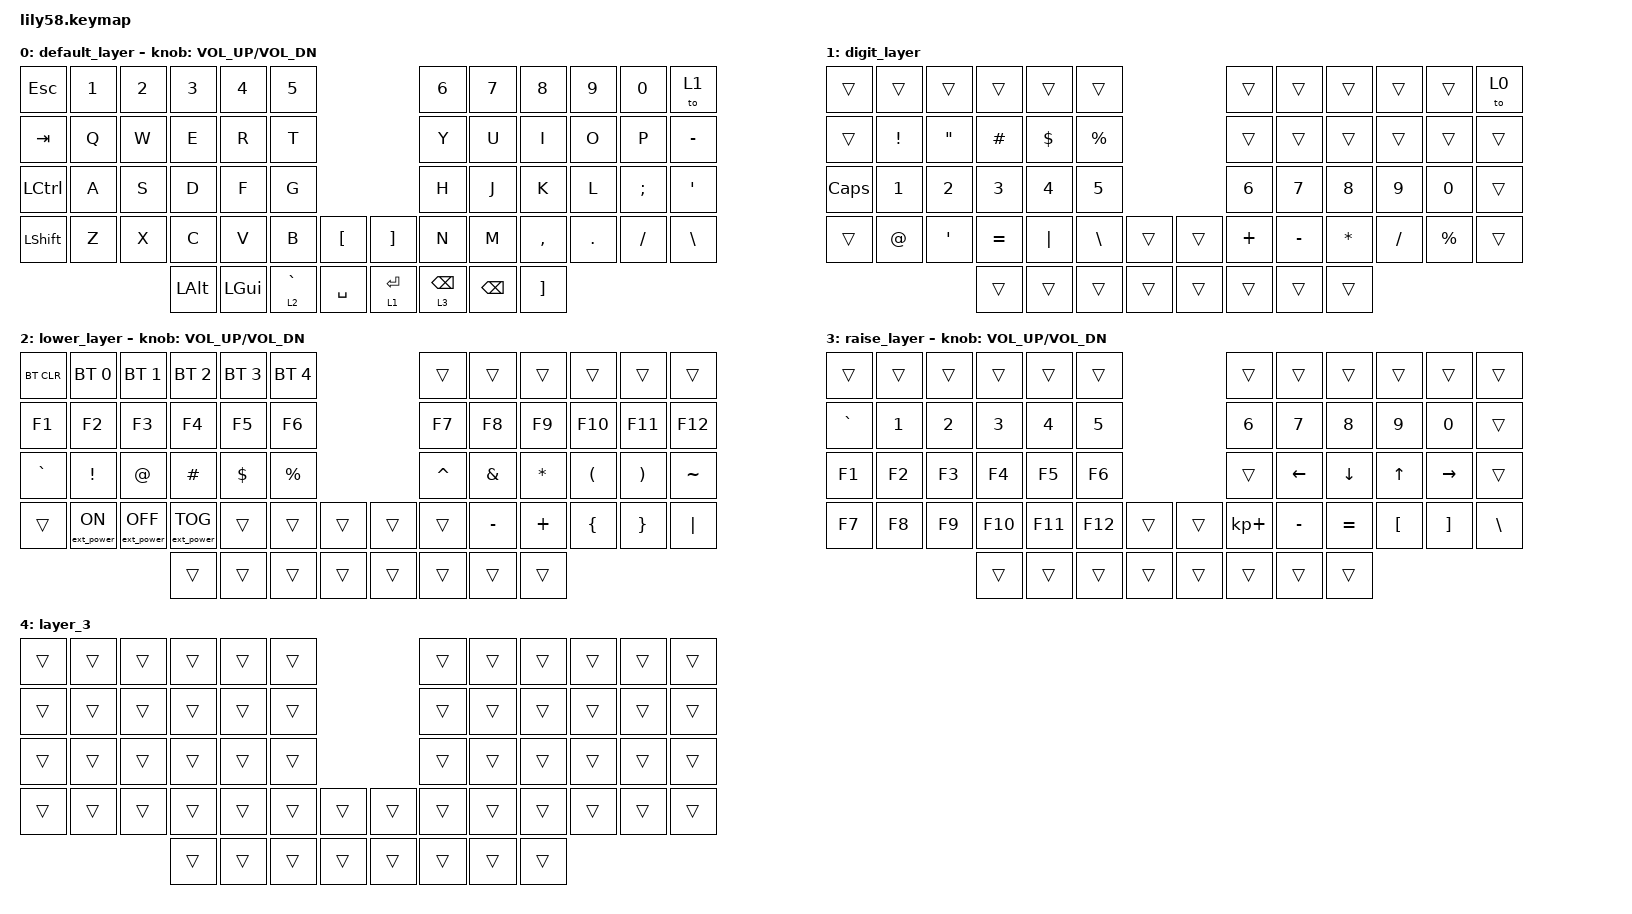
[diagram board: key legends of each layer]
/*
 * Copyright (c) 2020 The ZMK Contributors
 *
 * SPDX-License-Identifier: MIT
 */

#include <behaviors.dtsi>
#include <dt-bindings/zmk/bt.h>
#include <dt-bindings/zmk/ext_power.h>
#include <dt-bindings/zmk/keys.h>

/ {
    combos {
        compatible = "zmk,combos";

        combo_esc {
            timeout-ms = <50>;
            key-positions = <0 1>;
            bindings = <&kp ESC>;
        };
    };

    behaviors {
        ss_hs_modmorph: ss_hs_modmorph {
            compatible = "zmk,behavior-mod-morph";
            label = "SS_HS_MODMORPH";
            bindings = <&kp M>, <&kp RIGHT_BRACKET>;

            #binding-cells = <0>;
            mods = <(MOD_LSFT|MOD_RSFT)>;
        };

        kh_hs_tapdance: kh_hs_tapdance {
            compatible = "zmk,behavior-tap-dance";
            label = "KH_HS_TAPDANCE";
            #binding-cells = <0>;
            tapping-term-ms = <200>;
            bindings = <&kp LEFT_BRACKET>, <&kp RIGHT_BRACKET>;
        };

        hrm: hrm {
            compatible = "zmk,behavior-hold-tap";
            #binding-cells = <2>;
            flavor = "tap-preferred";
            tapping-term-ms = <200>;
            quick-tap-ms = <200>;
            require-prior-idle-ms = <125>;
            bindings = <&kp>, <&kp>;
        };
    };

    keymap {
        compatible = "zmk,keymap";

        default_layer {
            // ------------------------------------------------------------------------------------------------------------
            // |  ESC  |  1  |  2  |  3   |  4   |  5   |                   |  6   |  7    |  8    |  9   |   0   |   `   |
            // |  TAB  |  Q  |  W  |  E   |  R   |  T   |                   |  Y   |  U    |  I    |  O   |   P   |   -   |
            // |  CTRL |  A  |  S  |  D   |  F   |  G   |                   |  H   |  J    |  K    |  L   |   ;   |   '   |
            // | SHIFT |  Z  |  X  |  C   |  V   |  B   |   "["  |  |  "]"  |  N   |  M    |  ,    |  .   |   /   | SHIFT |
            //                     | ALT  | GUI  | LOWER|  SPACE |  | ENTER | RAISE| BSPC  | GUI   |

            bindings = <
&kp ESC    &kp N1  &kp N2  &kp N3    &kp N4    &kp N5                                 &kp N6           &kp N7    &kp N8             &kp N9   &kp N0    &to 1
&kp TAB    &kp Q   &kp W   &kp E     &kp R     &kp T                                  &kp Y            &kp U     &kp I              &kp O    &kp P     &kp MINUS
&kp LCTRL  &kp A   &kp S   &kp D     &kp F     &kp G                                  &kp H            &kp J     &kp K              &kp L    &kp SEMI  &kp SQT
&kp LSHFT  &kp Z   &kp X   &kp C     &kp V     &kp B        &kp LBKT     &kp RBKT     &kp N            &kp M     &kp COMMA          &kp DOT  &kp FSLH  &kp BACKSLASH
                           &kp LALT  &kp LGUI  &lt 2 GRAVE  &kp SPACE    &lt 1 ENTER  &lt 3 BACKSPACE  &kp BSPC  &kp RIGHT_BRACKET
            >;

            sensor-bindings = <&inc_dec_kp C_VOL_UP C_VOL_DN>;
        };

        digit_layer {
            bindings = <
&trans    &trans        &trans            &trans     &trans      &trans                       &trans    &trans     &trans    &trans    &trans     &to 0
&trans    &kp EXCL      &kp DQT           &kp HASH   &kp DOLLAR  &kp PRCNT                    &trans    &trans     &trans    &trans    &trans     &trans
&kp CLCK  &kp NUMBER_1  &kp N2            &kp N3     &kp N4      &kp N5                       &kp N6    &kp N7     &kp N8    &kp N9    &kp N0     &trans
&trans    &kp AT_SIGN   &kp SINGLE_QUOTE  &kp EQUAL  &kp PIPE    &kp BSLH   &trans    &trans  &kp PLUS  &kp MINUS  &kp STAR  &kp FSLH  &kp PRCNT  &trans
                                          &trans     &trans      &trans     &trans    &trans  &trans    &trans     &trans
            >;
        };

        lower_layer {
            // ------------------------------------------------------------------------------------------------------------
            // | BTCLR | BT1 | BT2 |  BT3 |  BT4 |  BT5 |                   |      |       |       |      |       |       |
            // |  F1   |  F2 |  F3 |  F4  |  F5  |  F6  |                   |  F7  |  F8   |  F9   |  F10 |  F11  |  F12  |
            // |   `   |  !  |  @  |  #   |  $   |  %   |                   |  ^   |  &    |  *    |  (   |   )   |   ~   |
            // |       |     |     |      |      |      |        |  |       |      |  _    |  +    |  {   |   }   |  "|"  |
            //                     |      |      |      |        |  |       |      |       |       |

            bindings = <
&bt BT_CLR  &bt BT_SEL 0      &bt BT_SEL 1       &bt BT_SEL 2       &bt BT_SEL 3  &bt BT_SEL 4                    &trans     &trans     &trans     &trans    &trans    &trans
&kp F1      &kp F2            &kp F3             &kp F4             &kp F5        &kp F6                          &kp F7     &kp F8     &kp F9     &kp F10   &kp F11   &kp F12
&kp GRAVE   &kp EXCL          &kp AT             &kp HASH           &kp DOLLAR    &kp PRCNT                       &kp CARET  &kp AMPS   &kp ASTRK  &kp LPAR  &kp RPAR  &kp TILDE
&trans      &ext_power EP_ON  &ext_power EP_OFF  &ext_power EP_TOG  &trans        &trans        &trans    &trans  &trans     &kp MINUS  &kp PLUS   &kp LBRC  &kp RBRC  &kp PIPE
                                                 &trans             &trans        &trans        &trans    &trans  &trans     &trans     &trans
            >;

            sensor-bindings = <&inc_dec_kp C_VOL_UP C_VOL_DN>;
        };

        raise_layer {
            // ------------------------------------------------------------------------------------------------------------
            // |       |     |     |      |      |      |                   |      |       |       |      |       |       |
            // |   `   |  1  |  2  |  3   |  4   |  5   |                   |  6   |   7   |   8   |  9   |   0   |       |
            // |   F1  |  F2 |  F3 |  F4  |  F5  |  F6  |                   |      |   <-  |   v   |  ^   |  ->   |       |
            // |   F7  |  F8 |  F9 |  F10 |  F11 |  F12 |        |  |       |  +   |   -   |   =   |  [   |   ]   |   \   |
            //                     |      |      |      |        |  |       |      |       |       |

            bindings = <
&trans     &trans  &trans  &trans   &trans   &trans                     &trans       &trans     &trans     &trans    &trans     &trans
&kp GRAVE  &kp N1  &kp N2  &kp N3   &kp N4   &kp N5                     &kp N6       &kp N7     &kp N8     &kp N9    &kp N0     &trans
&kp F1     &kp F2  &kp F3  &kp F4   &kp F5   &kp F6                     &trans       &kp LEFT   &kp DOWN   &kp UP    &kp RIGHT  &trans
&kp F7     &kp F8  &kp F9  &kp F10  &kp F11  &kp F12  &trans    &trans  &kp KP_PLUS  &kp MINUS  &kp EQUAL  &kp LBKT  &kp RBKT   &kp BSLH
                           &trans   &trans   &trans   &trans    &trans  &trans       &trans     &trans
            >;

            sensor-bindings = <&inc_dec_kp C_VOL_UP C_VOL_DN>;
        };

        layer_3 {
            bindings = <
&trans  &trans  &trans  &trans  &trans  &trans                    &trans  &trans  &trans  &trans  &trans  &trans
&trans  &trans  &trans  &trans  &trans  &trans                    &trans  &trans  &trans  &trans  &trans  &trans
&trans  &trans  &trans  &trans  &trans  &trans                    &trans  &trans  &trans  &trans  &trans  &trans
&trans  &trans  &trans  &trans  &trans  &trans  &trans    &trans  &trans  &trans  &trans  &trans  &trans  &trans
                        &trans  &trans  &trans  &trans    &trans  &trans  &trans  &trans
            >;
        };
    };
};
